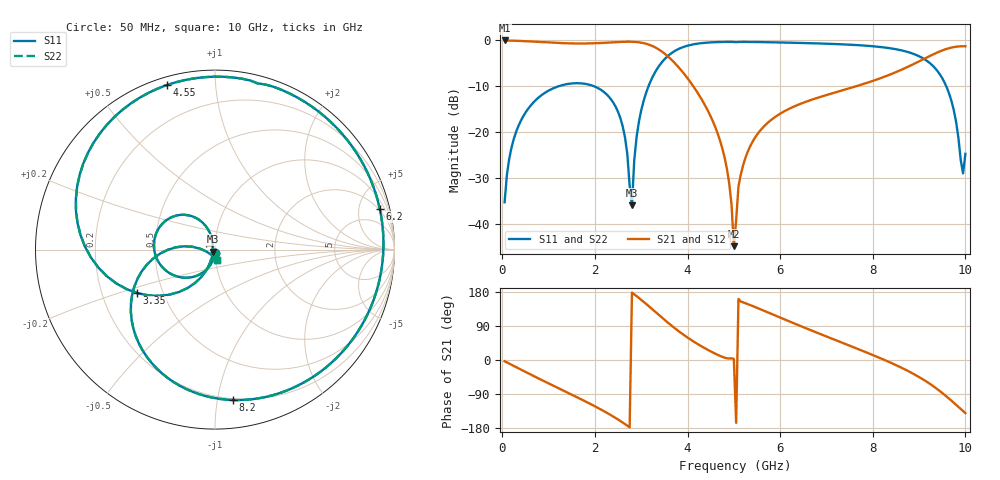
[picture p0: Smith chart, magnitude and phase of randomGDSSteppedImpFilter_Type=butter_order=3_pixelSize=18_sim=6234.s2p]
! freq	dB(S11)	phase(S11)	dB(S12)	phase(S12)
!  dB(S21)	phase(S21)	dB(S22)	phase(S22)
!S-par simulation data
#  GHz  S  DB  R 50
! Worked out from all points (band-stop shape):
!   200 points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, 50 MHz to 10 GHz, reference 50 ohm
!   highest |S21| = 0.00 dB at 50 MHz (marker M1); lowest = -44.8 dB at 5 GHz (marker M2)
!   |S21| within 3 dB of the highest: start of sweep to 3.521 GHz; 9.311 GHz to end of sweep
!   lowest |S11| = -35.9 dB at 2.8 GHz (marker M3), VSWR 1.03, Z = 48.8 - j1.03 ohm
!   |S11| at or under -10 dB: start of sweep to 1.207 GHz; 1.985 GHz to 3.156 GHz (1.172 GHz wide, 45.6 % of centre); 9.587 GHz to end of sweep
!   |S22| runs from -35.7 to -0.3 dB; largest |S21 - S12| = 0
!   S11 on the Smith chart (normalised r, x): 50 MHz: 1.00, -0.03; 3.35 GHz: 0.36, -0.23; 4.55 GHz: 0.04, +0.75; 6.2 GHz: 1.82, +7.80; 8.2 GHz: 0.19, -1.11; 10 GHz: 1.02, -0.12
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0.05  -35.24 -93.0  -0.00 -3.2  -0.00 -3.2  -35.24 -93.0
0.5  -15.73 -121.8  -0.16 -31.4  -0.16 -31.4  -15.73 -121.8
1.75  -9.40 163.2  -0.67 -106.5  -0.67 -106.5  -9.40 163.2
2.5  -15.57 114.8  -0.35 -157.1  -0.35 -157.1  -15.57 114.8
2.8  -35.88 -138.8  -0.29 177.8  -0.29 177.8  -35.74 -139.7
2.95  -17.71 -113.1  -0.41 163.8  -0.41 163.8  -17.71 -113.3
3.35  -6.08 -150.8  -1.79 122.3  -1.79 122.3  -6.08 -150.9
3.4  -5.35 -156.0  -2.10 116.9  -2.10 116.9  -5.35 -156.1
3.9  -1.46 155.4  -6.95 67.8  -6.95 67.8  -1.46 155.3
4.55  -0.40 106.4  -17.68 19.6  -17.68 19.6  -0.40 106.3
4.85  -0.32 87.4  -27.94 4.6  -27.94 4.6  -0.32 87.3
5  -0.33 78.3  -44.80 2.7  -44.80 2.7  -0.34 78.2
5.05  -0.39 75.6  -39.16 -165.9  -39.16 -165.9  -0.39 75.5
5.35  -0.33 58.7  -23.10 145.2  -23.10 145.2  -0.33 58.6
6.2  -0.49 13.9  -14.86 101.7  -14.86 101.7  -0.49 13.8
6.7  -0.62 -10.9  -12.85 76.7  -12.85 76.7  -0.62 -10.9
8.2  -1.47 -83.1  -8.10 2.9  -8.10 2.9  -1.47 -83.1
8.35  -1.67 -90.8  -7.52 -5.1  -7.52 -5.1  -1.67 -90.8
9.4  -6.70 -159.3  -2.60 -77.5  -2.60 -77.5  -6.70 -159.3
9.75  -15.22 174.0  -1.45 -112.8  -1.45 -112.8  -15.22 173.8
9.95  -28.94 -116.6  -1.26 -134.7  -1.26 -134.7  -29.06 -116.2
10  -24.69 -79.0  -1.27 -140.2  -1.27 -140.2  -24.71 -78.5
